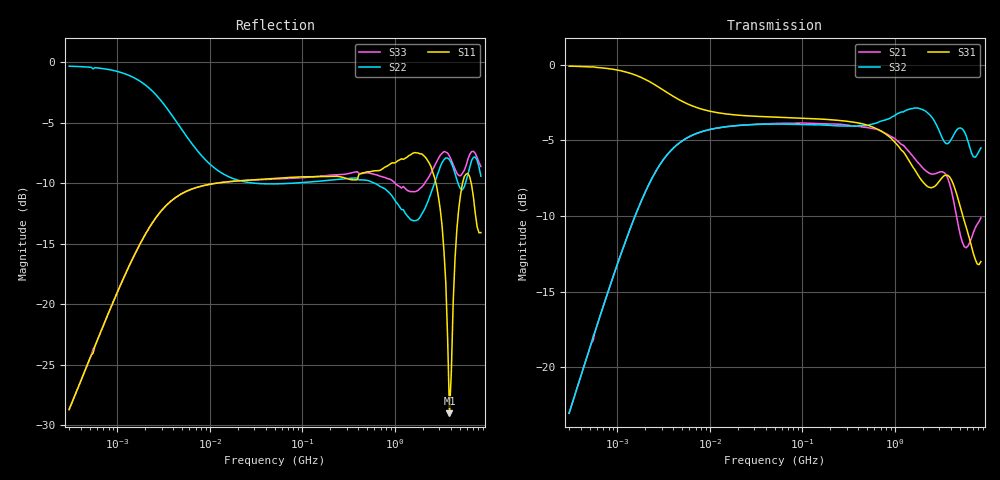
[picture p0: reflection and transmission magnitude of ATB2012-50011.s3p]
! S-parameter Generated by TDK Corporation
! Copyright(C) 2015 TDK Corporation.
! All Rights Reserved.
! TDK P/N: ATB2012-50011 (Balun Transformers)
! Property: UnBal. : Bal. = 50ohm : 50ohm
! Size(LxWxT): 2x1.2x1.2mm, 0.079x0.047x0.047inches
! Model Type: s3p (Touchstone File Format Version 1.0)
! Frequency: DC=Yes Start=0.3MHz Stop=8500MHz 225points Log-sweep
! Note:
! Model Generated on Jun. 23, 2015
! Hash(MD5):
! Port Assignments:
!  1 ---@@@--- 3
! GND---@@@--- 2
! Applicable Conditions:
!  Temperature = 25 degC
!  DC Bias Current = 0 A
!  Small Signal Operation
! Terms and conditions regarding TDK Simulation Models
! (1)This simulation model is being provided solely for informational purposes. Please refer to the specifications of the products in terms of detailed characteristics of such products.
! (2)In no event shall TDK Corporation of any of its subsidiaries be liable for any loss or damage arising, directly or indirectly,
!  From any information contained in this simulation model, including, but not limited to loss or damages arising from any inaccuracies, omissions or errors in connection with such information.
! (3)Any and all copyrights on this simulation model are owned by TDK Corporation.
!  Duplication or redistribution of this simulation model without prior written permission from TDK Corporation is prohibited.
! (4)This simulation model is subject to any modification or change without any prior notice.
! (5)Neither TDK Corporation nor any of its subsidiaries shall make any warranty, express or implied,
!  Including but not limited to the correctness, implied warranties of merchantability and fitness for a particular purpose with respect to this simulation models.
! (6)The use of this simulation model shall be deemed to have consented to the terms and conditions hereof.
# MHz S MA R 50
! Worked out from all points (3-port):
!   224 points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, 300 kHz to 8.5 GHz, reference 50 ohm
!   strongest paths, dB at 300 kHz, 3.937 MHz, 51.67 MHz, 678.1 MHz, 8.5 GHz:
!     S31: -0.1, -2.1, -3.5, -4.3, -13.0
!     S32: -23.0, -5.6, -3.9, -3.8, -5.5
!     S21: -23.0, -5.6, -3.9, -4.3, -10.1
!   lowest |S11| = -29.0 dB at 3.891 GHz (marker M1), VSWR 1.07, Z = 48.7 - j3.25 ohm
!   |S11| at or under -10 dB: start of sweep to 11.67 MHz; 2.776 GHz to 5.376 GHz (2.6 GHz wide, 63.8 % of centre); 6.681 GHz to end of sweep
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0.3  0.03678 72.0  0.07086 -96.6  0.989 -1.9
     0.07054 -96.7  0.9637 171.8  0.07049 83.4
     0.9896 -2.0  0.0704 83.4  0.0366 72.1
2.725608  0.2333 43.4  0.4558 -135.2  0.8472 -11.2
          0.4556 -135.3  0.7202 117.1  0.4557 45.0
          0.8473 -11.2  0.4557 44.9  0.2333 43.9
51.67171  0.3311 -3.9  0.6399 178.7  0.6712 -5.9
          0.6399 178.7  0.3143 15.2  0.6369 2.7
          0.671 -6.0  0.6366 2.7  0.329 4.5
678.1388  0.3567 -102.3  0.607 122.5  0.6078 -53.5
          0.6072 122.5  0.3081 -6.6  0.6482 1.5
          0.6081 -53.5  0.648 1.4  0.339 -3.7
1290.729  0.4011 -179.9  0.5335 76.6  0.5057 -97.8
          0.5337 76.6  0.238 -5.0  0.7047 -2.1
          0.5057 -97.8  0.7045 -2.2  0.301 -2.7
2140.204  0.4046 107.6  0.447 28.0  0.4015 -150.4
          0.447 28.0  0.2517 15.6  0.7029 -12.5
          0.4014 -150.4  0.703 -12.6  0.3202 8.1
3237.012  0.2099 11.6  0.4431 -32.0  0.4235 141.3
          0.4429 -31.9  0.3849 2.3  0.5739 -17.9
          0.4235 141.2  0.574 -18.0  0.4207 -1.9
3890.506  0.03539 -109.8  0.4057 -76.3  0.4264 95.9
          0.4055 -76.2  0.3957 -16.7  0.5543 -11.8
          0.4264 95.8  0.5548 -12.0  0.4088 -14.4
5367.404  0.3156 46.6  0.2589 -167.8  0.3197 15.0
          0.2588 -167.7  0.2969 -18.7  0.6128 -19.3
          0.3198 14.9  0.6131 -19.5  0.3471 -13.4
8500  0.1977 -13.6  0.3121 26.4  0.224 -174.4
      0.3119 26.2  0.3383 -33.9  0.5323 -24.6
      0.2236 -174.6  0.5311 -24.7  0.371 -51.9
